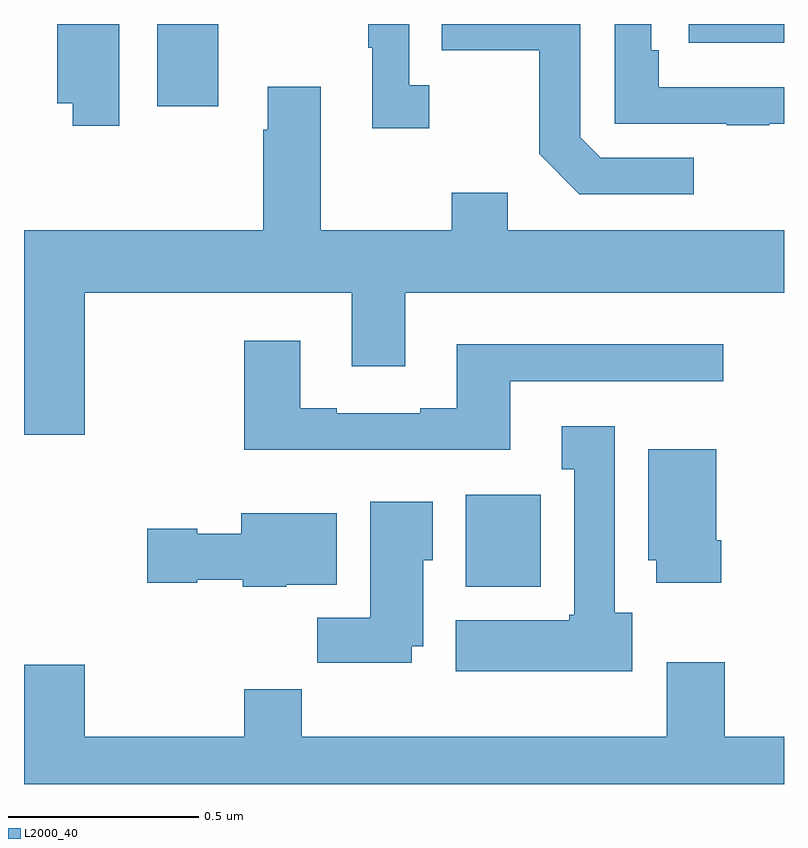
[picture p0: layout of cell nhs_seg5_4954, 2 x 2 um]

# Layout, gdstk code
import gdstk
lib = gdstk.Library(unit=1e-6, precision=1e-09)
def R(c, l, rs):  # rectangles x0, y0, x1, y1
    for r in rs: c.add(gdstk.rectangle(r[:2], r[2:], *l))
def P(c, l, *ps):  # polygons
    for p in ps: c.add(gdstk.Polygon(p, *l))
L2000_40 = (2000, 40)

nhs_seg5_4954 = lib.new_cell('nhs_seg5_4954')
R(nhs_seg5_4954, L2000_40, [(178.163,857.318,178.36,857.56), (177.35,858.582,177.511,858.799), (178.749,858.75,179,858.799)])
P(nhs_seg5_4954, L2000_40, [(178.762,858.447),(178.518,858.447),(178.464,858.501),(178.464,858.799),(178.099,858.799),(178.099,858.73),(178.356,858.73),(178.356,858.457),(178.461,858.351),(178.762,858.351)],
  [(178.961,858.537),(179,858.537),(179,858.633),(178.67,858.633),(178.67,858.73),(178.65,858.73),(178.65,858.799),(178.554,858.799),(178.554,858.537),(178.849,858.537),(178.849,858.532),(178.961,858.532)],
  [(177.25,858.799),(177.088,858.799),(177.088,858.59),(177.128,858.59),(177.128,858.531),(177.25,858.531)],
  [(178.066,858.638),(178.014,858.638),(178.014,858.799),(177.906,858.799),(177.906,858.737),(177.917,858.737),(177.917,858.525),(178.066,858.525)],
  [(177.16,858.092),(177.863,858.092),(177.863,857.898),(178.003,857.898),(178.003,858.092),(179,858.092),(179,858.256),(178.273,858.256),(178.273,858.355),(178.126,858.355),(178.126,858.256),(177.781,858.256),(177.781,858.634),(177.641,858.634),(177.641,858.521),(177.629,858.521),(177.629,858.256),(177,858.256),(177,857.718),(177.16,857.718)],
  [(178.279,857.859),(178.84,857.859),(178.84,857.956),(178.139,857.956),(178.139,857.788),(178.043,857.788),(178.043,857.775),(177.823,857.775),(177.823,857.788),(177.727,857.788),(177.727,857.965),(177.58,857.965),(177.58,857.678),(178.279,857.678)],
  [(178.6,857.25),(178.555,857.25),(178.555,857.74),(178.415,857.74),(178.415,857.627),(178.448,857.627),(178.448,857.244),(178.435,857.244),(178.435,857.23),(178.136,857.23),(178.136,857.096),(178.6,857.096)],
  [(178.835,857.44),(178.822,857.44),(178.822,857.68),(178.643,857.68),(178.643,857.388),(178.664,857.388),(178.664,857.328),(178.835,857.328)],
  [(178.021,857.162),(178.051,857.162),(178.051,857.388),(178.075,857.388),(178.075,857.542),(177.911,857.542),(177.911,857.236),(177.772,857.236),(177.772,857.118),(178.021,857.118)],
  [(177.69,857.324),(177.823,857.324),(177.823,857.512),(177.572,857.512),(177.572,857.458),(177.456,857.458),(177.456,857.471),(177.324,857.471),(177.324,857.329),(177.456,857.329),(177.456,857.336),(177.576,857.336),(177.576,857.318),(177.69,857.318)],
  [(179,856.924),(178.844,856.924),(178.844,857.119),(178.691,857.119),(178.691,856.924),(177.731,856.924),(177.731,857.048),(177.58,857.048),(177.58,856.924),(177.16,856.924),(177.16,857.113),(177,857.113),(177,856.799),(179,856.799)])

lib.write_gds('nhs_seg5_4954.gds')
